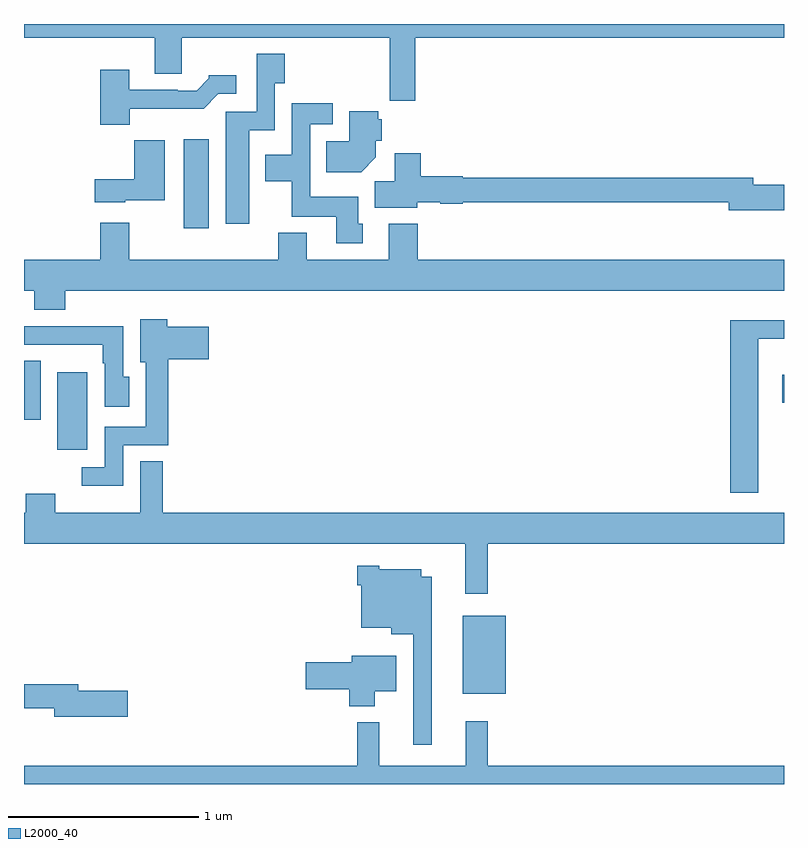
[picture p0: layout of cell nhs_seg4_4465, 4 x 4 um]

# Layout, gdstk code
import gdstk
lib = gdstk.Library(unit=1e-6, precision=1e-09)
def R(c, l, rs):  # rectangles x0, y0, x1, y1
    for r in rs: c.add(gdstk.rectangle(r[:2], r[2:], *l))
def P(c, l, *ps):  # polygons
    for p in ps: c.add(gdstk.Polygon(p, *l))
L2000_40 = (2000, 40)

nhs_seg4_4465 = lib.new_cell('nhs_seg4_4465')
R(nhs_seg4_4465, L2000_40, [(353.309,785.375,353.536,785.785), (351.176,786.66,351.334,787.066), (351,786.816,351.088,787.127), (354.99,786.907,355,787.054), (351.842,787.824,351.973,788.293)])
P(nhs_seg4_4465, L2000_40, [(353.06,788.828),(355,788.828),(355,788.9),(351,788.9),(351,788.828),(351.689,788.828),(351.689,788.638),(351.829,788.638),(351.829,788.828),(352.924,788.828),(352.924,788.496),(353.06,788.496)],
  [(352.186,788.342),(352.32,788.342),(352.32,788.587),(352.373,788.587),(352.373,788.743),(352.224,788.743),(352.224,788.439),(352.061,788.439),(352.061,787.848),(352.186,787.848)],
  [(351.556,788.454),(351.945,788.454),(352.023,788.532),(352.117,788.532),(352.117,788.629),(351.972,788.629),(351.972,788.614),(351.908,788.55),(351.809,788.55),(351.809,788.553),(351.553,788.553),(351.553,788.659),(351.401,788.659),(351.401,788.369),(351.556,788.369)],
  [(352.783,787.848),(352.759,787.848),(352.759,787.99),(352.506,787.99),(352.506,788.373),(352.624,788.373),(352.624,788.482),(352.41,788.482),(352.41,788.212),(352.271,788.212),(352.271,788.072),(352.408,788.072),(352.408,787.886),(352.643,787.886),(352.643,787.746),(352.783,787.746)],
  [(352.852,788.198),(352.852,788.286),(352.883,788.286),(352.883,788.4),(352.864,788.4),(352.864,788.441),(352.712,788.441),(352.712,788.284),(352.591,788.284),(352.591,788.12),(352.774,788.12)],
  [(351.534,787.973),(351.742,787.973),(351.742,788.287),(351.58,788.287),(351.58,788.083),(351.372,788.083),(351.372,787.961),(351.534,787.961)],
  [(355,788.054),(354.838,788.054),(354.838,788.09),(353.31,788.09),(353.31,788.098),(353.087,788.098),(353.087,788.221),(352.952,788.221),(352.952,788.072),(352.847,788.072),(352.847,787.934),(353.07,787.934),(353.07,787.961),(353.19,787.961),(353.19,787.954),(353.31,787.954),(353.31,787.962),(354.71,787.962),(354.71,787.919),(355,787.919)],
  [(351.218,787.496),(355,787.496),(355,787.66),(353.072,787.66),(353.072,787.849),(352.919,787.849),(352.919,787.66),(352.489,787.66),(352.489,787.801),(352.337,787.801),(352.337,787.66),(351.553,787.66),(351.553,787.855),(351.401,787.855),(351.401,787.66),(351,787.66),(351,787.496),(351.053,787.496),(351.053,787.397),(351.218,787.397)],
  [(351.522,786.684),(351.76,786.684),(351.76,787.136),(351.973,787.136),(351.973,787.306),(351.755,787.306),(351.755,787.345),(351.611,787.345),(351.611,787.121),(351.641,787.121),(351.641,786.78),(351.426,786.78),(351.426,786.567),(351.303,786.567),(351.303,786.47),(351.522,786.47)],
  [(354.865,787.244),(355,787.244),(355,787.342),(354.716,787.342),(354.716,786.432),(354.865,786.432)],
  [(351.553,787.044),(351.522,787.044),(351.522,787.31),(351.301,787.31),(351.301,787.308),(351,787.308),(351,787.212),(351.184,787.212),(351.184,787.211),(351.414,787.211),(351.414,787.115),(351.426,787.115),(351.426,786.885),(351.553,786.885)],
  [(353.441,786.164),(355,786.164),(355,786.328),(351.73,786.328),(351.73,786.599),(351.611,786.599),(351.611,786.328),(351.165,786.328),(351.165,786.427),(351.01,786.427),(351.01,786.328),(351,786.328),(351,786.164),(353.323,786.164),(353.323,785.901),(353.441,785.901)],
  [(353.146,785.992),(353.092,785.992),(353.092,786.031),(352.869,786.031),(352.869,786.049),(352.754,786.049),(352.754,785.945),(352.775,785.945),(352.775,785.723),(352.934,785.723),(352.934,785.687),(353.049,785.687),(353.049,785.106),(353.146,785.106)],
  [(352.846,785.387),(352.96,785.387),(352.96,785.575),(352.724,785.575),(352.724,785.54),(352.482,785.54),(352.482,785.398),(352.712,785.398),(352.712,785.309),(352.846,785.309)],
  [(351.547,785.39),(351.286,785.39),(351.286,785.426),(351,785.426),(351,785.298),(351.158,785.298),(351.158,785.255),(351.547,785.255)],
  [(355,784.996),(353.441,784.996),(353.441,785.23),(353.324,785.23),(353.324,784.996),(352.871,784.996),(352.871,785.224),(352.753,785.224),(352.753,784.996),(351,784.996),(351,784.9),(355,784.9)])

lib.write_gds('nhs_seg4_4465.gds')
